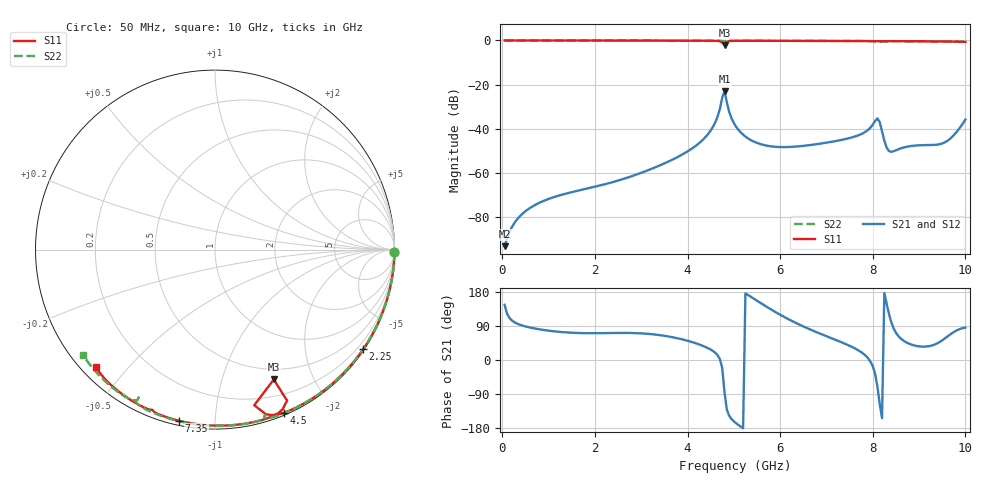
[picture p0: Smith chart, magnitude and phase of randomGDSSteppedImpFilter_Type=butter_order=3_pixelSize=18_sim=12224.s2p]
! freq	dB(S11)	phase(S11)	dB(S12)	phase(S12)
!  dB(S21)	phase(S21)	dB(S22)	phase(S22)
!S-par simulation data
#  GHz  S  DB  R 50
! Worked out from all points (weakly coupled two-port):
!   200 points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, 50 MHz to 10 GHz, reference 50 ohm
!   highest |S21| = -22.95 dB at 4.8 GHz (marker M1); lowest = -93.1 dB at 50 MHz (marker M2)
!   lowest |S11| = -2.0 dB at 4.8 GHz (marker M3), VSWR 8.72, Z = 18.9 - j74.2 ohm
!   |S11| at or under -10 dB: nowhere
!   |S22| runs from -0.6 to 0.0 dB; largest |S21 - S12| = 0
!   S11 on the Smith chart (normalised r, x): 50 MHz: open; 2.25 GHz: 0.03, -3.28; 4.5 GHz: 0.02, -1.51; 7.35 GHz: 0.02, -0.81; 10 GHz: 0.04, -0.41
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0.05  -0.00 -0.8  -93.11 145.7  -93.11 145.7  -0.00 -0.8
0.35  -0.00 -5.4  -80.23 94.5  -80.23 94.5  -0.00 -5.7
0.85  -0.01 -13.0  -72.99 80.0  -72.99 80.0  -0.01 -13.7
1.75  -0.03 -26.5  -67.42 70.9  -67.42 70.9  -0.04 -28.0
2.25  -0.04 -33.9  -64.89 71.1  -64.89 71.1  -0.05 -35.8
3.4  -0.07 -50.6  -56.57 65.6  -56.57 65.6  -0.07 -53.3
4.1  -0.09 -60.7  -48.86 47.3  -48.86 47.3  -0.09 -63.6
4.5  -0.12 -67.1  -40.75 27.4  -40.75 27.4  -0.10 -69.5
4.7  -0.35 -72.8  -30.88 2.2  -30.88 2.2  -0.14 -72.7
4.75  -0.97 -75.8  -25.77 -21.7  -25.77 -21.7  -0.22 -73.7
4.8  -2.00 -65.6  -22.95 -87.1  -22.95 -87.1  -0.34 -73.2
4.9  -0.30 -67.1  -32.32 -147.3  -32.32 -147.3  -0.14 -74.5
5.05  -0.15 -71.1  -39.09 -167.0  -39.09 -167.0  -0.12 -76.8
5.3  -0.13 -75.3  -44.24 172.0  -44.24 172.0  -0.13 -80.4
5.65  -0.14 -80.2  -47.34 144.9  -47.34 144.9  -0.14 -85.2
6.7  -0.19 -93.8  -47.20 77.9  -47.20 77.9  -0.19 -99.3
7.35  -0.22 -101.9  -44.90 45.5  -44.90 45.5  -0.23 -107.8
7.85  -0.26 -108.0  -41.23 11.0  -41.23 11.0  -0.28 -114.6
8.1  -0.36 -111.2  -35.28 -70.3  -35.28 -70.3  -0.62 -118.2
8.35  -0.32 -113.8  -50.06 121.6  -50.06 121.6  -0.37 -119.5
9.5  -0.44 -128.0  -46.61 52.0  -46.61 52.0  -0.44 -134.6
10  -0.63 -135.3  -35.80 85.4  -35.80 85.4  -0.54 -141.2
